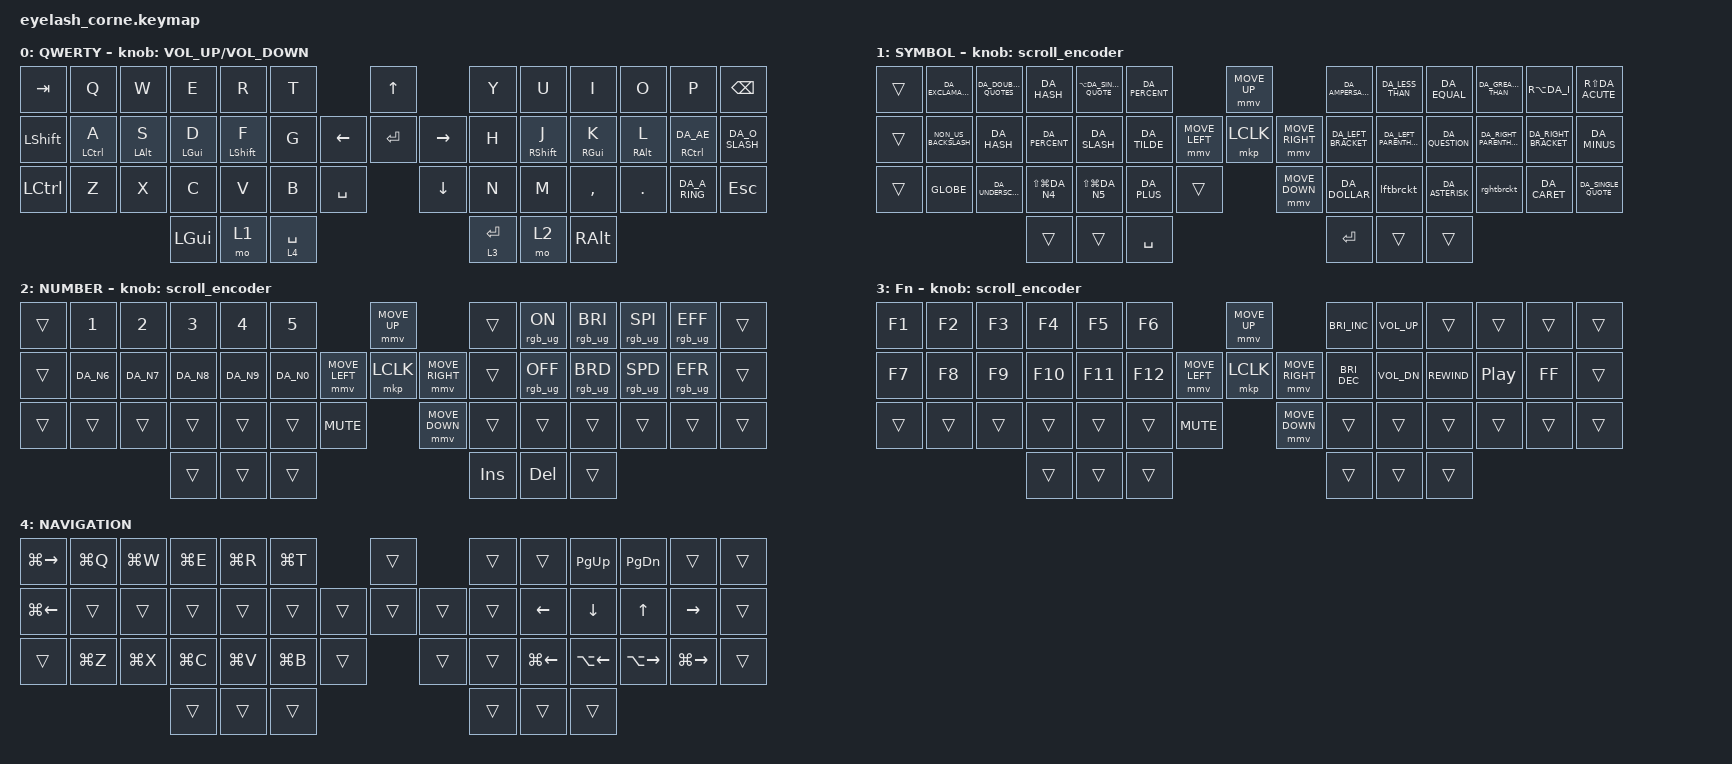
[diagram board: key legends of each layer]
#define ZMK_POINTING_DEFAULT_MOVE_VAL 1200  // 600
#define ZMK_POINTING_DEFAULT_SCRL_VAL 25   // 10

#include <input/processors.dtsi>
#include <zephyr/dt-bindings/input/input-event-codes.h>
#include "keys_da.h"
#include <behaviors.dtsi>
#include <dt-bindings/zmk/keys.h>
#include <dt-bindings/zmk/pointing.h>
#include <dt-bindings/zmk/rgb.h>

&mmv_input_listener { input-processors = <&zip_xy_scaler 2 1>; };

&msc_input_listener { input-processors = <&zip_scroll_scaler 2 1>; };

&msc {
    acceleration-exponent = <1>;      // 0
    time-to-max-speed-ms = <100>;       // 300
    delay-ms = <0>;                   // 0
};

&mmv {
    time-to-max-speed-ms = <500>;
    acceleration-exponent = <1>;
    trigger-period-ms = <16>;
};

&mt { flavor = "tap-preferred"; };

/ {
    behaviors {
        td0: td0 {
            compatible = "zmk,behavior-tap-dance";
            display-name = "Shift/Caps Lock Tap Dance";
            #binding-cells = <0>;
            bindings = <&kp LEFT_SHIFT>, <&kp CAPS>;
        };
    };

    rgb_encoder: rgb_encoder {
        compatible = "zmk,behavior-sensor-rotate";
        #sensor-binding-cells = <0>;
        bindings = <&rgb_ug RGB_BRI>, <&rgb_ug RGB_BRD>;
    };

    scroll_encoder: scroll_encoder {
        compatible = "zmk,behavior-sensor-rotate";
        #sensor-binding-cells = <0>;
        bindings = <&msc SCRL_DOWN>, <&msc SCRL_UP>;

        tap-ms = <100>;
    };

    macros {
        prntscrn: prntscrn {
            compatible = "zmk,behavior-macro";
            #binding-cells = <0>;
            bindings = <&kp LS(LG(DA_N4))>;
            label = "PRNTSCRN";
        };

        lftbrckt: lftbrckt {
            compatible = "zmk,behavior-macro";
            #binding-cells = <0>;
            bindings = <&kp RA(RS(DA_N8))>;
            label = "LFTBRCKT";
        };

        rghtbrckt: rghtbrckt {
            compatible = "zmk,behavior-macro";
            #binding-cells = <0>;
            bindings = <&kp RA(RS(DA_N9))>;
            label = "RGHTBRCKT";
        };
    };

    keymap {
        compatible = "zmk,keymap";

        default_layer {
            display-name = "QWERTY";
            bindings = <
&kp TAB         &kp Q               &kp W           &kp E           &kp R             &kp T                               &kp UP                &kp Y        &kp U              &kp I            &kp O            &kp P                    &kp BSPC
&kp LEFT_SHIFT  &mt LEFT_CONTROL A  &mt LEFT_ALT S  &mt LEFT_GUI D  &mt LEFT_SHIFT F  &kp G                     &kp LEFT  &kp ENTER  &kp RIGHT  &kp H        &mt RIGHT_SHIFT J  &mt RIGHT_GUI K  &mt RIGHT_ALT L  &mt RIGHT_CONTROL DA_AE  &kp DA_O_SLASH
&kp LCTRL       &kp Z               &kp X           &kp C           &kp V             &kp B        &kp SPACE              &kp DOWN              &kp N        &kp M              &kp COMMA        &kp DOT          &kp DA_A_RING            &kp ESC
                                                    &kp LGUI        &mo 1             &lt 4 SPACE                                               &lt 3 ENTER  &mo 2              &kp RALT
            >;

            sensor-bindings = <&inc_dec_kp C_VOLUME_UP C_VOLUME_DOWN>;
        };

        lower_layer {
            display-name = "SYMBOL";
            bindings = <
&trans  &kp DA_EXCLAMATION    &kp DA_DOUBLE_QUOTES  &kp DA_HASH        &kp LA(DA_SINGLE_QUOTE)  &kp DA_PERCENT                            &mmv MOVE_UP                     &kp DA_AMPERSAND     &kp DA_LESS_THAN         &kp DA_EQUAL     &kp DA_GREATER_THAN       &kp RA(DA_I)          &kp RS(DA_ACUTE)
&trans  &kp NON_US_BACKSLASH  &kp DA_HASH           &kp DA_PERCENT     &kp DA_SLASH             &kp DA_TILDE              &mmv MOVE_LEFT  &mkp LCLK       &mmv MOVE_RIGHT  &kp DA_LEFT_BRACKET  &kp DA_LEFT_PARENTHESIS  &kp DA_QUESTION  &kp DA_RIGHT_PARENTHESIS  &kp DA_RIGHT_BRACKET  &kp DA_MINUS
&trans  &kp GLOBE             &kp DA_UNDERSCORE     &kp LS(LG(DA_N4))  &kp LS(LG(DA_N5))        &kp DA_PLUS     &trans                    &mmv MOVE_DOWN                   &kp DA_DOLLAR        &lftbrckt                &kp DA_ASTERISK  &rghtbrckt                &kp DA_CARET          &kp DA_SINGLE_QUOTE
                                                    &trans             &trans                   &kp SPACE                                                                  &kp RET              &trans                   &trans
            >;

            sensor-bindings = <&scroll_encoder>;
        };

        raise_layer {
            display-name = "NUMBER";
            bindings = <
&trans  &kp N1     &kp N2     &kp N3     &kp N4     &kp N5                                   &mmv MOVE_UP                     &trans   &rgb_ug RGB_ON   &rgb_ug RGB_BRI  &rgb_ug RGB_SPI  &rgb_ug RGB_EFF  &trans
&trans  &kp DA_N6  &kp DA_N7  &kp DA_N8  &kp DA_N9  &kp DA_N0                &mmv MOVE_LEFT  &mkp LCLK       &mmv MOVE_RIGHT  &trans   &rgb_ug RGB_OFF  &rgb_ug RGB_BRD  &rgb_ug RGB_SPD  &rgb_ug RGB_EFR  &trans
&trans  &trans     &trans     &trans     &trans     &trans     &kp C_MUTE                    &mmv MOVE_DOWN                   &trans   &trans           &trans           &trans           &trans           &trans
                              &trans     &trans     &trans                                                                    &kp INS  &kp DEL          &trans
            >;

            sensor-bindings = <&scroll_encoder>;
        };

        layer_3 {
            display-name = "Fn";
            bindings = <
&kp F1  &kp F2  &kp F3  &kp F4   &kp F5   &kp F6                                 &mmv MOVE_UP                     &kp C_BRIGHTNESS_INC  &kp C_VOLUME_UP  &trans        &trans            &trans    &trans
&kp F7  &kp F8  &kp F9  &kp F10  &kp F11  &kp F12                &mmv MOVE_LEFT  &mkp LCLK       &mmv MOVE_RIGHT  &kp C_BRIGHTNESS_DEC  &kp C_VOL_DN     &kp C_REWIND  &kp C_PLAY_PAUSE  &kp C_FF  &trans
&trans  &trans  &trans  &trans   &trans   &trans   &kp C_MUTE                    &mmv MOVE_DOWN                   &trans                &trans           &trans        &trans            &trans    &trans
                        &trans   &trans   &trans                                                                  &trans                &trans           &trans
            >;

            sensor-bindings = <&scroll_encoder>;
        };

        navigation_layer {
            bindings = <
&kp LG(RIGHT)  &kp LG(Q)  &kp LG(W)  &kp LG(E)  &kp LG(R)  &kp LG(T)                    &trans          &trans  &trans              &kp PAGE_UP   &kp PAGE_DOWN  &trans         &trans
&kp LG(LEFT)   &trans     &trans     &trans     &trans     &trans               &trans  &trans  &trans  &trans  &kp LEFT            &kp DOWN      &kp UP         &kp RIGHT      &trans
&trans         &kp LG(Z)  &kp LG(X)  &kp LG(C)  &kp LG(V)  &kp LG(B)  &trans            &trans          &trans  &kp LG(LEFT_ARROW)  &kp LA(LEFT)  &kp LA(RIGHT)  &kp LG(RIGHT)  &trans
                                     &trans     &trans     &trans                                       &trans  &trans              &trans
            >;

            label = "NAVIGATION";
        };
    };
};
